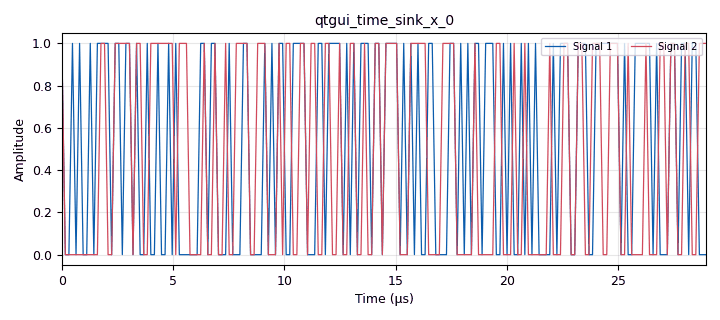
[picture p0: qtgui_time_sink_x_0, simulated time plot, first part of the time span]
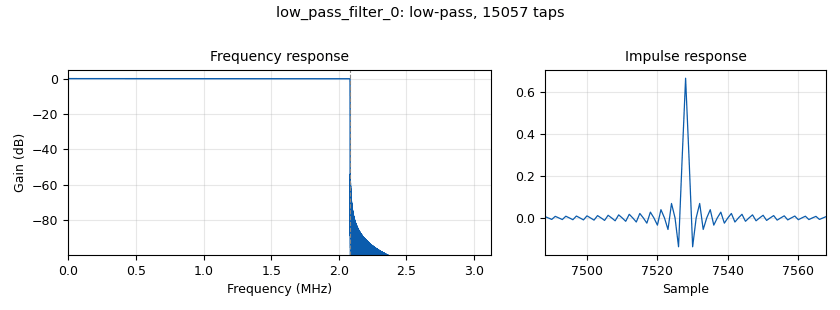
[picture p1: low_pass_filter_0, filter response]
options:
  parameters:
    author: Barrios-Jimenez
    copyright: Uis
    generate_options: qt_gui
    id: BER
    output_language: python
    title: BER
  states: {}

blocks:
- name: Ac
  id: variable_qtgui_range
  parameters:
    label: Amplitud_Portadora
    start: '0'
    step: '100e-3'
    stop: '2'
    value: '100e-3'
  states: {}
- name: B
  id: variable_qtgui_range
  parameters:
    label: '#muestras/simbolos(SPS)'
    start: '1'
    step: '1'
    stop: '40'
    value: '10'
  states: {}
- name: DC
  id: variable_qtgui_range
  parameters:
    label: Nivel_Modulante
    start: '-8'
    step: '100e-3'
    stop: '8'
    value: '-1'
  states: {}
- name: 'No'
  id: variable_qtgui_range
  parameters:
    label: Amplitud del ruido
    start: '0'
    step: '100e-6'
    stop: '800e-3'
    value: '0.355'
  states: {}
- name: n
  id: variable_qtgui_range
  parameters:
    label: '#bit por simbolo'
    rangeType: int
    start: '1'
    step: '1'
    stop: '4'
    value: '1'
  states: {}
- name: samp_rate
  id: variable
  parameters:
    value: 6.25e6
  states: {}
- name: analog_noise_source_x_0
  id: analog_noise_source_x
  parameters:
    amp: 'No'
    noise_type: analog.GR_GAUSSIAN
    seed: '0'
    type: float
  states: {}
- name: analog_random_source_x_0
  id: analog_random_source_x
  parameters:
    max: int(math.pow(2,n))
    min: '0'
    num_samps: '10000000'
    repeat: 'False'
    type: byte
  states: {}
- name: blocks_add_const_vxx_0
  id: blocks_add_const_vxx
  parameters:
    const: DC
    type: float
  states: {}
- name: blocks_add_xx_0
  id: blocks_add_xx
  parameters:
    type: float
  states: {}
- name: blocks_char_to_float_0
  id: blocks_char_to_float
  parameters:
    scale: '500e-3'
  states: {}
- name: blocks_char_to_float_0_1
  id: blocks_char_to_float
  parameters:
    scale: '1'
  states: {}
- name: blocks_char_to_float_1
  id: blocks_char_to_float
  parameters:
    scale: '1'
  states: {}
- name: blocks_pack_k_bits_bb_0
  id: blocks_pack_k_bits_bb
  parameters:
    k: B
  states: {}
- name: blocks_pack_k_bits_bb_1
  id: blocks_pack_k_bits_bb
  parameters:
    k: B
  states: {}
- name: digital_binary_slicer_fb_0
  id: digital_binary_slicer_fb
  parameters: {}
  states: {}
- name: fec_ber_bf_0
  id: fec_ber_bf
  parameters:
    test_mode: 'False'
  states: {}
- name: import_0
  id: import
  parameters:
    imports: import math
  states: {}
- name: low_pass_filter_0
  id: low_pass_filter
  parameters:
    cutoff_freq: samp_rate/3
    decim: '1'
    gain: '1'
    samp_rate: samp_rate
    type: fir_filter_fff
    width: '1000'
    win: window.WIN_HAMMING
  states: {}
- name: qtgui_number_sink_0
  id: qtgui_number_sink
  parameters:
    autoscale: 'True'
    graph_type: qtgui.NUM_GRAPH_HORIZ
    type: float
  states: {}
- name: qtgui_time_sink_x_0
  id: qtgui_time_sink_x
  parameters:
    autoscale: 'True'
    nconnections: '2'
    size: 1024*8
    srate: samp_rate
    type: float
  states: {}
- name: virtual_sink_0
  id: virtual_sink
  parameters:
    stream_id: m_t
  states: {}
- name: virtual_source_0
  id: virtual_source
  parameters:
    stream_id: m_t
  states: {}

connections:
- [analog_noise_source_x_0, '0', blocks_add_xx_0, '1']
- [analog_random_source_x_0, '0', blocks_char_to_float_0, '0']
- [analog_random_source_x_0, '0', blocks_char_to_float_0_1, '0']
- [analog_random_source_x_0, '0', blocks_pack_k_bits_bb_0, '0']
- [blocks_add_const_vxx_0, '0', virtual_sink_0, '0']
- [blocks_add_xx_0, '0', low_pass_filter_0, '0']
- [blocks_char_to_float_0, '0', blocks_add_const_vxx_0, '0']
- [blocks_char_to_float_0_1, '0', qtgui_time_sink_x_0, '0']
- [blocks_char_to_float_1, '0', qtgui_time_sink_x_0, '1']
- [blocks_pack_k_bits_bb_0, '0', fec_ber_bf_0, '0']
- [blocks_pack_k_bits_bb_1, '0', fec_ber_bf_0, '1']
- [digital_binary_slicer_fb_0, '0', blocks_char_to_float_1, '0']
- [digital_binary_slicer_fb_0, '0', blocks_pack_k_bits_bb_1, '0']
- [fec_ber_bf_0, '0', qtgui_number_sink_0, '0']
- [low_pass_filter_0, '0', digital_binary_slicer_fb_0, '0']
- [virtual_source_0, '0', blocks_add_xx_0, '0']

metadata:
  file_format: 1
